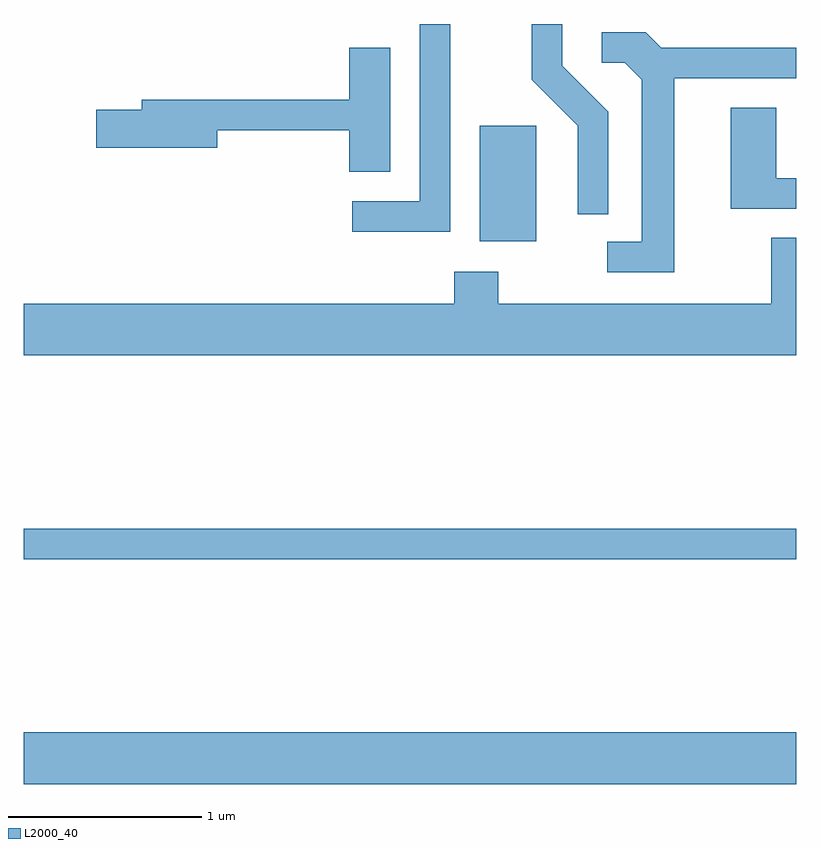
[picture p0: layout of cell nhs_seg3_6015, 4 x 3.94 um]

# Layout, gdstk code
import gdstk
lib = gdstk.Library(unit=1e-6, precision=1e-09)
def R(c, l, rs):  # rectangles x0, y0, x1, y1
    for r in rs: c.add(gdstk.rectangle(r[:2], r[2:], *l))
def P(c, l, *ps):  # polygons
    for p in ps: c.add(gdstk.Polygon(p, *l))
L2000_40 = (2000, 40)

nhs_seg3_6015 = lib.new_cell('nhs_seg3_6015')
R(nhs_seg3_6015, L2000_40, [(361.611,1185.956,365.611,1186.224), (361.611,1187.121,365.611,1187.279), (363.971,1188.766,364.264,1189.364)])
P(nhs_seg3_6015, L2000_40, [(363.819,1189.892),(363.661,1189.892),(363.661,1188.974),(363.313,1188.974),(363.313,1188.816),(363.819,1188.816)],
  [(364.639,1189.437),(364.399,1189.677),(364.399,1189.892),(364.241,1189.892),(364.241,1189.604),(364.481,1189.364),(364.481,1188.908),(364.639,1188.908)],
  [(364.979,1189.611),(365.611,1189.611),(365.611,1189.769),(364.912,1189.769),(364.832,1189.849),(364.603,1189.849),(364.603,1189.691),(364.724,1189.691),(364.811,1189.604),(364.811,1188.764),(364.633,1188.764),(364.633,1188.606),(364.979,1188.606)],
  [(363.509,1189.769),(363.296,1189.769),(363.296,1189.499),(362.221,1189.499),(362.221,1189.449),(361.986,1189.449),(361.986,1189.251),(362.614,1189.251),(362.614,1189.341),(363.296,1189.341),(363.296,1189.126),(363.509,1189.126)],
  [(365.611,1189.094),(365.509,1189.094),(365.509,1189.459),(365.271,1189.459),(365.271,1188.936),(365.611,1188.936)],
  [(365.611,1188.784),(365.481,1188.784),(365.481,1188.444),(364.069,1188.444),(364.069,1188.609),(363.841,1188.609),(363.841,1188.444),(361.611,1188.444),(361.611,1188.176),(365.611,1188.176)])

lib.write_gds('nhs_seg3_6015.gds')
